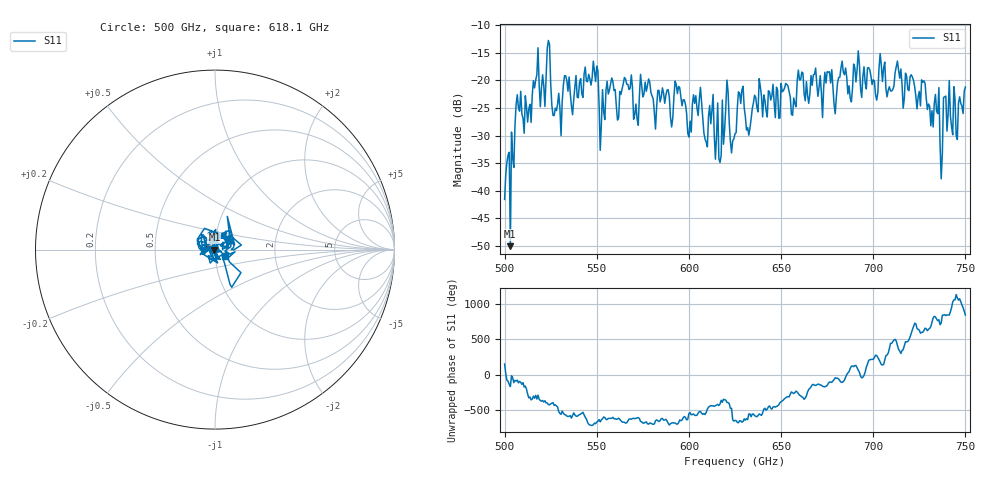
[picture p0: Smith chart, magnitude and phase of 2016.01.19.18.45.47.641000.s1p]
!Created with skrf (http://scikit-rf.org).
# GHz S RI R 50.0
!freq ReS11 ImS11
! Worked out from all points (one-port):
!   401 points, 500 GHz to 750 GHz, reference 50 ohm
!   lowest |S11| = -50.0 dB at 503.1 GHz (marker M1), VSWR 1.01, Z = 49.7 - j0.0604 ohm
!   |S11| at or under -10 dB: start of sweep to end of sweep
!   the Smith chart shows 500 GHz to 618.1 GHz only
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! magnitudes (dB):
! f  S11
! 500 GHz  -41.6
! 503.1 GHz  -50.0
! 507.5 GHz  -24.9
! 513.1 GHz  -25.2
! 516.9 GHz  -19.9
! 520.6 GHz  -19.0
! 523.8 GHz  -12.8
! 526.9 GHz  -26.4
! 531.2 GHz  -23.8
! 549.4 GHz  -20.2
! 553.1 GHz  -21.7
! 556.9 GHz  -21.8
! 562.5 GHz  -22.0
! 593.8 GHz  -22.4
! 600 GHz  -30.3
! 605 GHz  -26.4
! 608.8 GHz  -30.7
! 625 GHz  -29.7
! 628.1 GHz  -24.2
! 632.5 GHz  -29.9
! 637.5 GHz  -25.7
! 656.2 GHz  -26.3
! 660.6 GHz  -19.9
! 687.5 GHz  -23.2
! 718.8 GHz  -21.6
! 734.4 GHz  -25.6
! 736.2 GHz  -31.6
! 750 GHz  -21.2
